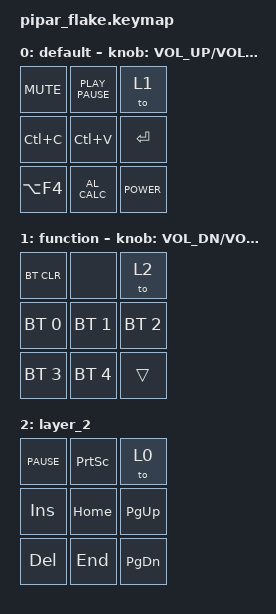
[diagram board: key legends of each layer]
/*
 * Copyright (c) 2022 The ZMK Contributors
 *
 * SPDX-License-Identifier: MIT
 */

#include <behaviors.dtsi>
#include <dt-bindings/zmk/bt.h>
#include <dt-bindings/zmk/keys.h>

#define BASE        0
#define FUNC        1

/ {
    sensors: sensors {
        compatible = "zmk,keymap-sensors";
        sensors = <&encoder_1>;
        triggers-per-rotation = <24>;
    };

    keymap {
        compatible = "zmk,keymap";

        default_layer {
            // ---------------------------//
            // | Q    | W     | ENCODER | //
            // | A    | S     | D       | //
            // | Z    | X     | FN      | //

            display-name = "default";
            bindings = <
&kp C_MUTE  &kp K_PLAY_PAUSE  &to 1
&kp LC(C)   &kp LC(V)         &kp ENTER
&kp LA(F4)  &kp C_AL_CALC     &kp C_POWER
            >;

            sensor-bindings = <&inc_dec_kp C_VOLUME_UP C_VOLUME_DOWN>;
        };

        function_layer {
            // --------------------------- //
            // | BT_CLR | none | ENCODER | //
            // | BT_0   | BT_1 | BT_2    | //
            // | BT_3   | BT_4 | trans   | //

            display-name = "function";
            bindings = <
&bt BT_CLR    &none         &to 2
&bt BT_SEL 0  &bt BT_SEL 1  &bt BT_SEL 2
&bt BT_SEL 3  &bt BT_SEL 4  &trans
            >;

            sensor-bindings = <&inc_dec_kp C_VOL_DN C_VOL_UP>;
        };

        layer_2 {
            bindings = <
&kp C_PAUSE  &kp PRINTSCREEN  &to 0
&kp INS      &kp HOME         &kp PG_UP
&kp DELETE   &kp END          &kp PAGE_DOWN
            >;
        };
    };
};
